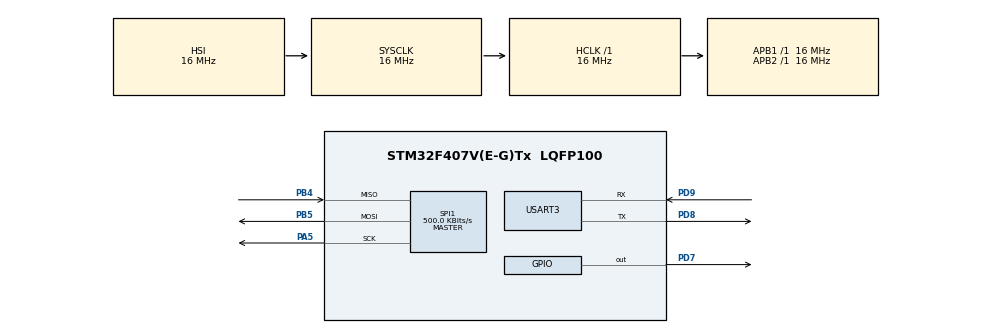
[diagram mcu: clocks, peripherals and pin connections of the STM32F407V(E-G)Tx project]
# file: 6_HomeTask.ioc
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Mcu.Family=STM32F4
Mcu.Name=STM32F407V(E-G)Tx
Mcu.Package=LQFP100
NVIC.PriorityGroup=NVIC_PRIORITYGROUP_4
PA5.Mode=Full_Duplex_Master
PA5.Signal=SPI1_SCK
PB4.Mode=Full_Duplex_Master
PB4.Signal=SPI1_MISO
PB5.Mode=Full_Duplex_Master
PB5.Signal=SPI1_MOSI
PD7.GPIO_PuPd=GPIO_NOPULL
PD7.GPIO_Speed=GPIO_SPEED_FREQ_LOW
PD7.Signal=GPIO_Output
PD8.Mode=Asynchronous
PD8.Signal=USART3_TX
PD9.Mode=Asynchronous
PD9.Signal=USART3_RX
ProjectManager.HeapSize=0x200
ProjectManager.StackSize=0x400
ProjectManager.TargetToolchain=STM32CubeIDE
RCC.AHBFreq_Value=16000000
RCC.APB1Freq_Value=16000000
RCC.APB2Freq_Value=16000000
RCC.CortexFreq_Value=16000000
RCC.HSE_VALUE=25000000
RCC.HSI_VALUE=16000000
RCC.LSE_VALUE=32768
RCC.SYSCLKFreq_VALUE=16000000
RCC.VCOOutputFreq_Value=192000000
SPI1.BaudRatePrescaler=SPI_BAUDRATEPRESCALER_32
SPI1.CalculateBaudRate=500.0 KBits/s
SPI1.Direction=SPI_DIRECTION_2LINES
SPI1.Mode=SPI_MODE_MASTER
SPI1.VirtualType=VM_MASTER
USART3.VirtualMode=VM_ASYNC
board=custom

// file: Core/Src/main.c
/* USER CODE BEGIN Header */
/**
 ******************************************************************************
 * @file           : main.c
 * @brief          : Main program body
 ******************************************************************************
 * @attention
 *
 * <h2><center>&copy; Copyright (c) 2021 STMicroelectronics.
 * All rights reserved.</center></h2>
 *
 * This software component is licensed by ST under BSD 3-Clause license,
 * the "License"; You may not use this file except in compliance with the
 * License. You may obtain a copy of the License at:
 *                        opensource.org/licenses/BSD-3-Clause
 *
 ******************************************************************************
 */
/* USER CODE END Header */
#include "main.h"

/* USER CODE BEGIN Includes */
#include <stdio.h>
#include <string.h>
#include "flash_spi_commands.h"
/* USER CODE END Includes */

/* USER CODE BEGIN PD */

#define TIME_CAPSULE_WRITE_MODE 1//<<======!!!!! UNCOMMENT THIS DEFINE TO ENABLE TIME CAPSULE WRITING MODE!!!!!!
#define NUM_STRINGS 13      //size of Time Capsule array
#define LENGTH_OFSTRING 100 //---//----

/* USER CODE END PD */

SPI_HandleTypeDef hspi1;

UART_HandleTypeDef huart3;

/* USER CODE BEGIN PV */
uint32_t timeCapsuleAddress = 0x00000;
/* USER CODE END PV */

void SystemClock_Config(void);
static void MX_GPIO_Init(void);
static void MX_SPI1_Init(void);
static void MX_USART3_UART_Init(void);

/* USER CODE BEGIN 0 */

void WriteTimeCapsule(uint32_t start_address)
{
	char timeCapsule[NUM_STRINGS][LENGTH_OFSTRING] = { };
	strcat(timeCapsule[0], "From: Konstantin Rudenko, rudenko.x64@gmail.com\r\n");
	strcat(timeCapsule[1], "Mentor: Vitalii Kostiuk, vitalii.kostiuk@globallogic.com\r\nDate: ");
	char currentDate[30] = __DATE__;
	strcat(currentDate, "\r\n");
	strcat(timeCapsule[2], currentDate);
	strcat(timeCapsule[3], "TIME CAPSULE:\r\n");
	strcat(timeCapsule[4], "We don't need no education\r\n");
	strcat(timeCapsule[5], "We don't need no thought control\r\n");
	strcat(timeCapsule[6], "No dark sarcasm in the classroom\r\n");
	strcat(timeCapsule[7], "Teacher, leave those kids alone\r\n");
	strcat(timeCapsule[8], "Hey, Teacher, leave those kids alone!\r\n");
	strcat(timeCapsule[9], "All in all it's just another brick in the wall\r\n");
	strcat(timeCapsule[10], "All in all you're just another brick in the wall\r\n");
	strcat(timeCapsule[11], "\r\n");
	strcat(timeCapsule[12], "                     Pink Floyd - Another Brick In the Wall\r\n");

	ChipErase(&hspi1); //erase all flash memory

	for (uint8_t i = 0; i < NUM_STRINGS; i++)
	{
		char writeStr[] = { };
		strcpy(writeStr, &timeCapsule[i][0]);
		WriteToFlash(&hspi1, start_address, (uint8_t*) writeStr, strlen(writeStr));
		start_address += 0x1000;  //increment address to next 4 KB block
	}
}

void ReadTimeCapsule(uint32_t start_address)
{
	for (uint8_t i = 0; i < NUM_STRINGS; i++)
	{
		char readStr[LENGTH_OFSTRING] = {0};
		ReadFromFlash(&hspi1, start_address, (uint8_t*) readStr);
		HAL_UART_Transmit(&huart3, (uint8_t*) readStr, strlen(readStr), 10);
		start_address += 0x1000;  //increment address to next 4 KB block
	}
}
/* USER CODE END 0 */

int main(void)
{

  /* MCU Configuration--------------------------------------------------------*/

  /* Reset of all peripherals, Initializes the Flash interface and the Systick. */
  HAL_Init();

  /* Configure the system clock */
  SystemClock_Config();

  /* Initialize all configured peripherals */
  MX_GPIO_Init();
  MX_SPI1_Init();
  MX_USART3_UART_Init();
  /* USER CODE BEGIN 2 */

#ifdef TIME_CAPSULE_WRITE_MODE

	WriteTimeCapsule(timeCapsuleAddress);  //create Time Capsule array and write to flash memory

#endif

	HAL_UART_Transmit(&huart3, (uint8_t*) "\x1B\x5B\x32\x4A\r\n", 6, 10); //clear screen
	ReadTimeCapsule(timeCapsuleAddress); //Read Time capsule from flash memory

  /* USER CODE END 2 */

  /* Infinite loop */
	while (1)
	{

	}
}

void SystemClock_Config(void)
{
  RCC_OscInitTypeDef RCC_OscInitStruct = {0};
  RCC_ClkInitTypeDef RCC_ClkInitStruct = {0};

  /** Configure the main internal regulator output voltage
  */
  __HAL_RCC_PWR_CLK_ENABLE();
  __HAL_PWR_VOLTAGESCALING_CONFIG(PWR_REGULATOR_VOLTAGE_SCALE1);
  /** Initializes the RCC Oscillators according to the specified parameters
  * in the RCC_OscInitTypeDef structure.
  */
  RCC_OscInitStruct.OscillatorType = RCC_OSCILLATORTYPE_HSI;
  RCC_OscInitStruct.HSIState = RCC_HSI_ON;
  RCC_OscInitStruct.HSICalibrationValue = RCC_HSICALIBRATION_DEFAULT;
  RCC_OscInitStruct.PLL.PLLState = RCC_PLL_NONE;
  if (HAL_RCC_OscConfig(&RCC_OscInitStruct) != HAL_OK)
  {
    Error_Handler();
  }
  /** Initializes the CPU, AHB and APB buses clocks
  */
  RCC_ClkInitStruct.ClockType = RCC_CLOCKTYPE_HCLK|RCC_CLOCKTYPE_SYSCLK
                              |RCC_CLOCKTYPE_PCLK1|RCC_CLOCKTYPE_PCLK2;
  RCC_ClkInitStruct.SYSCLKSource = RCC_SYSCLKSOURCE_HSI;
  RCC_ClkInitStruct.AHBCLKDivider = RCC_SYSCLK_DIV1;
  RCC_ClkInitStruct.APB1CLKDivider = RCC_HCLK_DIV1;
  RCC_ClkInitStruct.APB2CLKDivider = RCC_HCLK_DIV1;

  if (HAL_RCC_ClockConfig(&RCC_ClkInitStruct, FLASH_LATENCY_0) != HAL_OK)
  {
    Error_Handler();
  }
}

static void MX_SPI1_Init(void)
{

  /* SPI1 parameter configuration*/
  hspi1.Instance = SPI1;
  hspi1.Init.Mode = SPI_MODE_MASTER;
  hspi1.Init.Direction = SPI_DIRECTION_2LINES;
  hspi1.Init.DataSize = SPI_DATASIZE_8BIT;
  hspi1.Init.CLKPolarity = SPI_POLARITY_LOW;
  hspi1.Init.CLKPhase = SPI_PHASE_1EDGE;
  hspi1.Init.NSS = SPI_NSS_SOFT;
  hspi1.Init.BaudRatePrescaler = SPI_BAUDRATEPRESCALER_32;
  hspi1.Init.FirstBit = SPI_FIRSTBIT_MSB;
  hspi1.Init.TIMode = SPI_TIMODE_DISABLE;
  hspi1.Init.CRCCalculation = SPI_CRCCALCULATION_DISABLE;
  hspi1.Init.CRCPolynomial = 10;
  if (HAL_SPI_Init(&hspi1) != HAL_OK)
  {
    Error_Handler();
  }

}

static void MX_USART3_UART_Init(void)
{

  huart3.Instance = USART3;
  huart3.Init.BaudRate = 115200;
  huart3.Init.WordLength = UART_WORDLENGTH_8B;
  huart3.Init.StopBits = UART_STOPBITS_1;
  huart3.Init.Parity = UART_PARITY_NONE;
  huart3.Init.Mode = UART_MODE_TX_RX;
  huart3.Init.HwFlowCtl = UART_HWCONTROL_NONE;
  huart3.Init.OverSampling = UART_OVERSAMPLING_16;
  if (HAL_UART_Init(&huart3) != HAL_OK)
  {
    Error_Handler();
  }

}

static void MX_GPIO_Init(void)
{
  GPIO_InitTypeDef GPIO_InitStruct = {0};

  /* GPIO Ports Clock Enable */
  __HAL_RCC_GPIOA_CLK_ENABLE();
  __HAL_RCC_GPIOD_CLK_ENABLE();
  __HAL_RCC_GPIOB_CLK_ENABLE();

  /*Configure GPIO pin Output Level */
  HAL_GPIO_WritePin(GPIOD, GPIO_PIN_7, GPIO_PIN_RESET);

  /*Configure GPIO pin : PD7 */
  GPIO_InitStruct.Pin = GPIO_PIN_7;
  GPIO_InitStruct.Mode = GPIO_MODE_OUTPUT_PP;
  GPIO_InitStruct.Pull = GPIO_NOPULL;
  GPIO_InitStruct.Speed = GPIO_SPEED_FREQ_LOW;
  HAL_GPIO_Init(GPIOD, &GPIO_InitStruct);

}

void Error_Handler(void)
{
	__disable_irq();
	while (1)
	{
	}
}
